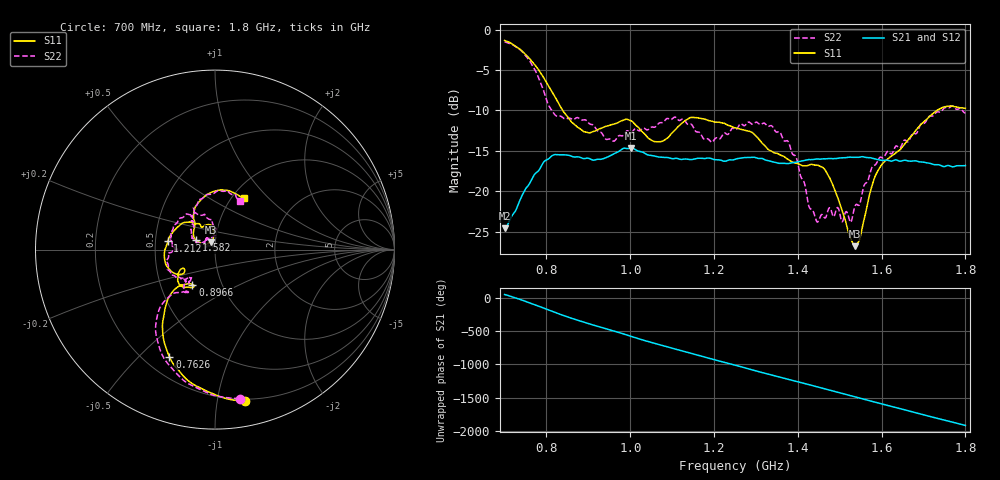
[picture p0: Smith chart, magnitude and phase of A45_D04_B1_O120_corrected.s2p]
! Created with skrf 1.9.0 (http://scikit-rf.org).
# Hz S RI R 50.0
!freq ReS11 ImS11 ReS21 ImS21 ReS12 ImS12 ReS22 ImS22
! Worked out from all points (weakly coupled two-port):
!   1601 points, 700 MHz to 1.8 GHz, reference 50 ohm
!   highest |S21| = -14.63 dB at 1.002 GHz (marker M1); lowest = -24.6 dB at 700 MHz (marker M2)
!   lowest |S11| = -26.8 dB at 1.535 GHz (marker M3), VSWR 1.10, Z = 47.8 + j3.91 ohm
!   |S11| at or under -10 dB: 838.8 MHz to 1.732 GHz (893.3 MHz wide, 69.5 % of centre)
!   |S22| runs from -23.8 to -1.5 dB; largest |S21 - S12| = 0.0034
!   S11 on the Smith chart (normalised r, x): 700 MHz: 0.19, -1.20; 762.6 MHz: 0.30, -0.62; 896.6 MHz: 0.73, -0.30; 1.212 GHz: 0.58, +0.06; 1.582 GHz: 0.80, +0.09; 1.8 GHz: 1.13, +0.72
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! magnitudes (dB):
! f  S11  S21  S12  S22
! 700 MHz  -1.3  -24.6  -24.4  -1.5
! 762.6 MHz  -3.8  -18.8  -18.7  -4.1
! 818.9 MHz  -8.2  -15.5  -15.6  -10.5
! 883.6 MHz  -12.4  -15.9  -15.8  -11.2
! 896.6 MHz  -12.7  -15.9  -16.0  -11.3
! 958.5 MHz  -11.7  -15.4  -15.4  -13.8
! 1.002 GHz  -11.3  -14.6  -14.7  -12.7
! 1.067 GHz  -13.9  -15.8  -15.7  -11.6
! 1.143 GHz  -10.9  -16.1  -16.1  -11.7
! 1.212 GHz  -11.4  -16.1  -16.1  -13.5
! 1.25 GHz  -12.1  -16.1  -16.0  -12.3
! 1.357 GHz  -15.5  -16.6  -16.5  -12.7
! 1.396 GHz  -16.5  -16.4  -16.4  -15.8
! 1.434 GHz  -16.7  -16.1  -16.1  -22.3
! 1.474 GHz  -18.2  -16.0  -16.0  -22.1
! 1.526 GHz  -25.8  -15.8  -15.8  -23.8
! 1.535 GHz  -26.8  -15.8  -15.8  -22.0
! 1.548 GHz  -25.8  -15.8  -15.8  -21.5
! 1.582 GHz  -18.5  -16.0  -16.0  -16.8
! 1.617 GHz  -15.9  -16.2  -16.2  -15.1
! 1.733 GHz  -10.0  -16.7  -16.7  -10.2
! 1.8 GHz  -9.7  -16.8  -16.8  -10.3
